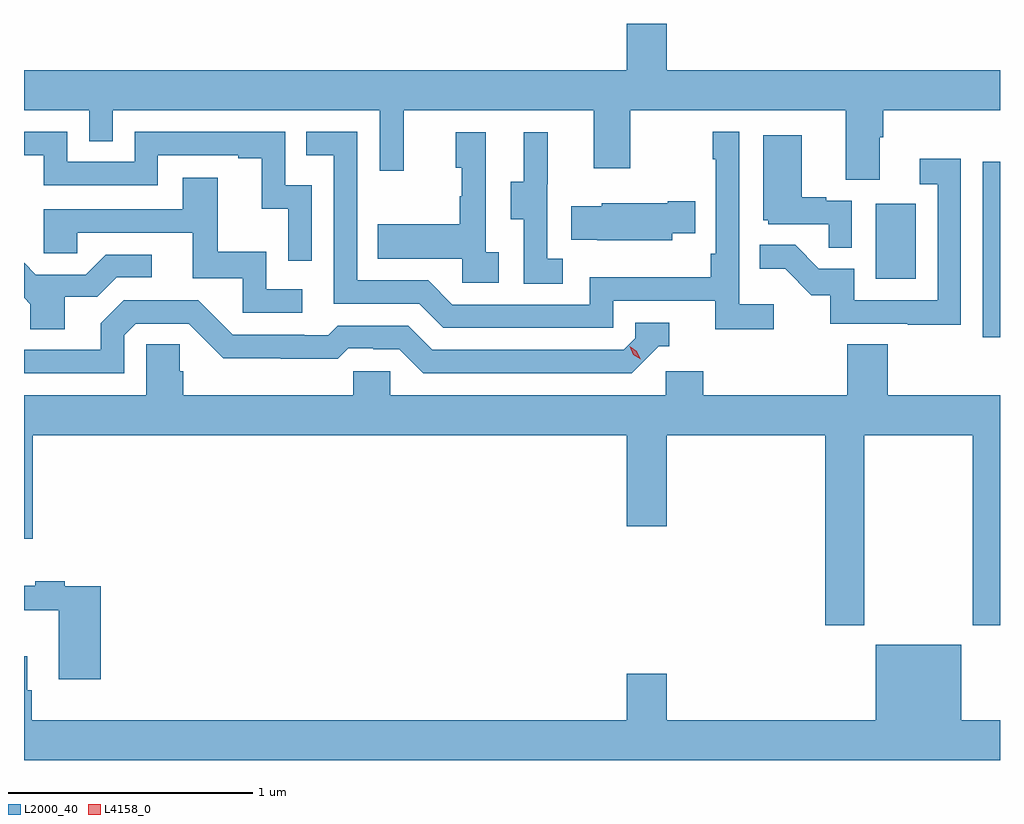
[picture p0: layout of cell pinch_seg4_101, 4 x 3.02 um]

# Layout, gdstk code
import gdstk
lib = gdstk.Library(unit=1e-6, precision=1e-09)
def R(c, l, rs):  # rectangles x0, y0, x1, y1
    for r in rs: c.add(gdstk.rectangle(r[:2], r[2:], *l))
def P(c, l, *ps):  # polygons
    for p in ps: c.add(gdstk.Polygon(p, *l))
L2000_40 = (2000, 40)
L4158_0 = (4158, 0)

pinch_seg4_101 = lib.new_cell('pinch_seg4_101')
R(pinch_seg4_101, L2000_40, [(1041.59,807.876,1041.661,808.597), (1041.152,808.116,1041.316,808.423)])
P(pinch_seg4_101, L2000_40, [(1041.169,808.696),(1041.182,808.696),(1041.182,808.808),(1041.661,808.808),(1041.661,808.972),(1040.296,808.972),(1040.296,809.161),(1040.132,809.161),(1040.132,808.972),(1037.661,808.972),(1037.661,808.808),(1037.928,808.808),(1037.928,808.681),(1038.024,808.681),(1038.024,808.808),(1039.119,808.808),(1039.119,808.56),(1039.217,808.56),(1039.217,808.808),(1039.997,808.808),(1039.997,808.569),(1040.145,808.569),(1040.145,808.808),(1041.029,808.808),(1041.029,808.522),(1041.169,808.522)],
  [(1040.734,808.012),(1040.592,808.012),(1040.592,808.72),(1040.484,808.72),(1040.484,808.607),(1040.496,808.607),(1040.496,808.219),(1040.476,808.219),(1040.476,808.123),(1039.98,808.123),(1039.98,808.011),(1039.416,808.011),(1039.317,808.11),(1039.026,808.11),(1039.026,808.719),(1038.817,808.719),(1038.817,808.623),(1038.93,808.623),(1038.93,808.014),(1039.28,808.014),(1039.379,807.915),(1040.076,807.915),(1040.076,808.026),(1040.495,808.026),(1040.495,807.91),(1040.734,807.91)],
  [(1038.84,808.5),(1038.732,808.5),(1038.732,808.719),(1038.114,808.719),(1038.114,808.596),(1037.838,808.596),(1037.838,808.719),(1037.661,808.719),(1037.661,808.623),(1037.742,808.623),(1037.742,808.5),(1038.21,808.5),(1038.21,808.623),(1038.539,808.623),(1038.539,808.611),(1038.635,808.611),(1038.635,808.403),(1038.744,808.403),(1038.744,808.191),(1038.84,808.191)],
  [(1039.87,808.199),(1039.806,808.199),(1039.806,808.503),(1039.808,808.503),(1039.808,808.717),(1039.709,808.717),(1039.709,808.515),(1039.655,808.515),(1039.655,808.36),(1039.71,808.36),(1039.71,808.096),(1039.87,808.096)],
  [(1039.606,808.226),(1039.554,808.226),(1039.554,808.717),(1039.43,808.717),(1039.43,808.572),(1039.456,808.572),(1039.456,808.454),(1039.446,808.454),(1039.446,808.339),(1039.111,808.339),(1039.111,808.199),(1039.458,808.199),(1039.458,808.101),(1039.606,808.101)],
  [(1041.054,808.437),(1040.948,808.437),(1040.948,808.45),(1040.848,808.45),(1040.848,808.705),(1040.69,808.705),(1040.69,808.356),(1040.712,808.356),(1040.712,808.341),(1040.959,808.341),(1040.959,808.243),(1041.054,808.243)],
  [(1041.501,808.609),(1041.333,808.609),(1041.333,808.503),(1041.405,808.503),(1041.405,808.029),(1041.063,808.029),(1041.063,808.158),(1040.919,808.158),(1040.821,808.256),(1040.677,808.256),(1040.677,808.157),(1040.781,808.157),(1040.888,808.05),(1040.965,808.05),(1040.965,807.933),(1041.283,807.933),(1041.283,807.928),(1041.501,807.928)],
  [(1038.802,808.074),(1038.654,808.074),(1038.654,808.228),(1038.455,808.228),(1038.455,808.531),(1038.311,808.531),(1038.311,808.401),(1037.742,808.401),(1037.742,808.221),(1037.879,808.221),(1037.879,808.305),(1038.353,808.305),(1038.353,808.119),(1038.558,808.119),(1038.558,807.978),(1038.802,807.978)],
  [(1040.317,808.304),(1040.411,808.304),(1040.411,808.434),(1040.3,808.434),(1040.3,808.426),(1040.028,808.426),(1040.028,808.414),(1039.903,808.414),(1039.903,808.277),(1040.011,808.277),(1040.011,808.274),(1040.317,808.274)],
  [(1037.827,808.042),(1037.962,808.042),(1038.042,808.122),(1038.184,808.122),(1038.184,808.215),(1037.996,808.215),(1037.915,808.134),(1037.709,808.134),(1037.661,808.182),(1037.661,808.038),(1037.687,808.012),(1037.687,807.91),(1037.827,807.91)],
  [(1038.072,807.885),(1038.12,807.933),(1038.336,807.933),(1038.478,807.791),(1038.714,807.791),(1038.714,807.789),(1038.947,807.789),(1038.989,807.831),(1039.092,807.831),(1039.092,807.828),(1039.199,807.828),(1039.298,807.729),(1040.151,807.729),(1040.262,807.84),(1040.305,807.84),(1040.305,807.936),(1040.166,807.936),(1040.166,807.873),(1040.118,807.825),(1039.335,807.825),(1039.236,807.924),(1038.947,807.924),(1038.908,807.885),(1038.809,807.885),(1038.809,807.888),(1038.516,807.888),(1038.375,808.029),(1038.069,808.029),(1037.975,807.935),(1037.975,807.825),(1037.661,807.825),(1037.661,807.729),(1038.072,807.729)],
  [(1041.105,807.476),(1041.55,807.476),(1041.55,806.697),(1041.661,806.697),(1041.661,807.64),(1041.2,807.64),(1041.2,807.848),(1041.035,807.848),(1041.035,807.64),(1040.444,807.64),(1040.444,807.738),(1040.292,807.738),(1040.292,807.64),(1039.161,807.64),(1039.161,807.738),(1039.011,807.738),(1039.011,807.64),(1038.314,807.64),(1038.314,807.738),(1038.299,807.738),(1038.299,807.848),(1038.162,807.848),(1038.162,807.64),(1037.661,807.64),(1037.661,807.051),(1037.696,807.051),(1037.696,807.476),(1040.132,807.476),(1040.132,807.102),(1040.296,807.102),(1040.296,807.476),(1040.945,807.476),(1040.945,806.697),(1041.105,806.697)],
  [(1037.975,806.856),(1037.828,806.856),(1037.828,806.876),(1037.708,806.876),(1037.708,806.858),(1037.661,806.858),(1037.661,806.759),(1037.804,806.759),(1037.804,806.475),(1037.975,806.475)],
  [(1041.661,806.308),(1041.502,806.308),(1041.502,806.617),(1041.152,806.617),(1041.152,806.308),(1040.296,806.308),(1040.296,806.497),(1040.132,806.497),(1040.132,806.308),(1037.693,806.308),(1037.693,806.43),(1037.674,806.43),(1037.674,806.569),(1037.661,806.569),(1037.661,806.144),(1041.661,806.144)])
P(pinch_seg4_101, L4158_0, [(1040.188,807.787),(1040.158,807.806),(1040.143,807.839),(1040.143,807.839),(1040.143,807.839),(1040.173,807.819),(1040.189,807.787),(1040.189,807.787)])

lib.write_gds('pinch_seg4_101.gds')
